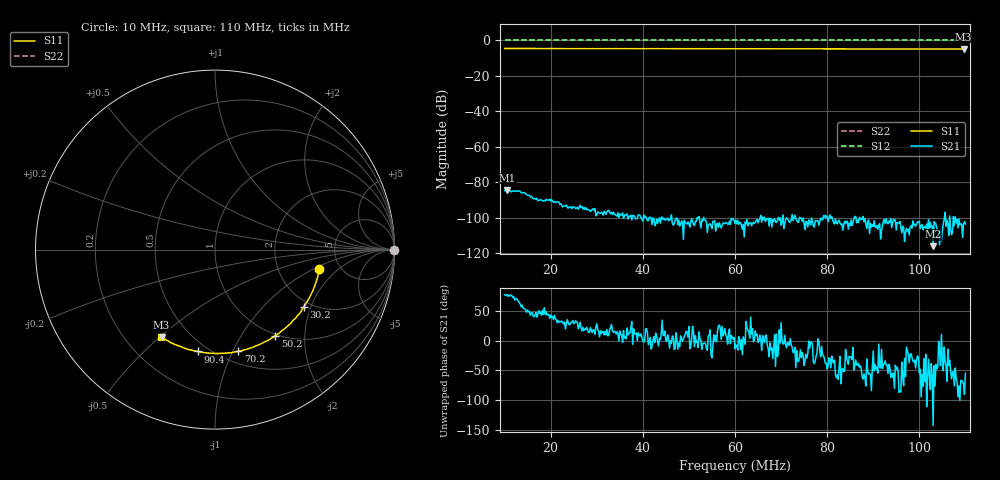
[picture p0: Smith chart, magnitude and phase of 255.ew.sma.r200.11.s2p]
! Anritsu VNA Master:  Model: MS2036C/10/77
! SN:  1601066
! /card0/usr/255.ew.sma.r200.11.s2p
! Existing Calibration Information:
! TYPE:  Current Settings,  Active Cal Settings
! TIME:  12/19/2017 06:09:31 PM,  12/19/2017 06:04:41 PM
! INTERNAL TEMP:  40.3 C,  39.8 C
! # POINTS:  501,  501
! START FREQ:  10.000 MHz,  10.000 MHz
! STOP FREQ:  110.000 MHz,  110.000 MHz
! SOURCE POWER:  High,  High
! IFBW:  100 Hz,  100 Hz
! AVG FACTOR:  1 ,  1
! REF PLANE 1:  0 mm,  0 mm
! REF PLANE 2:  0 mm,  0 mm
! CAL TYPE:  Full S11,  Full S11
! CAL METHOD:  SOLT,  SOLT
! CAL LINE TYPE:  Coax,  Coax
! DUT PORT 1:  N-Conn(F),  N-Conn(F)
! DUT PORT 2:  K-Conn(F),  K-Conn(F)
! CAL STATUS:  OK: Accuracy High,  --
# GHZ S DB R 50.0
! FREQ.GHZ  S11DB  S11A  S21DB  S21A  S12DB  S12A  S22DB  S22A
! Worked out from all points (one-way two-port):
!   501 points, 10 MHz to 110 MHz, reference 50 ohm
!   highest |S21| = -84.46 dB at 10.6 MHz (marker M1); lowest = -116.2 dB at 103 MHz (marker M2)
!   lowest |S11| = -4.9 dB at 109.6 MHz (marker M3), VSWR 3.66, Z = 17.5 - j25.4 ohm
!   |S11| at or under -10 dB: nowhere
!   |S22| runs from 0.0 to 0.0 dB; largest |S21 - S12| = 1
!   S11 on the Smith chart (normalised r, x): 10 MHz: 3.46, -1.18; 30.2 MHz: 1.83, -1.78; 50.2 MHz: 0.98, -1.43; 70.2 MHz: 0.61, -1.05; 90.4 MHz: 0.44, -0.75; 110 MHz: 0.35, -0.50
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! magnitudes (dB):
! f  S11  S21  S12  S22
! 10 MHz  -4.6  -84.7  0.0  0.0
! 10.6 MHz  -4.6  -84.5  0.0  0.0
! 26.8 MHz  -4.6  -93.8  0.0  0.0
! 30.2 MHz  -4.6  -96.7  0.0  0.0
! 33 MHz  -4.6  -97.8  0.0  0.0
! 35.6 MHz  -4.6  -97.4  0.0  0.0
! 37 MHz  -4.6  -99.2  0.0  0.0
! 38.6 MHz  -4.6  -100.6  0.0  0.0
! 40.4 MHz  -4.6  -100.0  0.0  0.0
! 43.4 MHz  -4.6  -101.2  0.0  0.0
! 46 MHz  -4.7  -101.2  0.0  0.0
! 50.2 MHz  -4.6  -105.4  0.0  0.0
! 51.6 MHz  -4.6  -102.3  0.0  0.0
! 60 MHz  -4.7  -103.3  0.0  0.0
! 70.2 MHz  -4.7  -102.4  0.0  0.0
! 76.8 MHz  -4.7  -102.1  0.0  0.0
! 88.4 MHz  -4.8  -103.7  0.0  0.0
! 90.4 MHz  -4.8  -105.2  0.0  0.0
! 93.4 MHz  -4.8  -102.0  0.0  0.0
! 103 MHz  -4.8  -116.2  0.0  0.0
! 109.6 MHz  -4.9  -103.8  0.0  0.0
! 110 MHz  -4.9  -103.6  0.0  0.0
